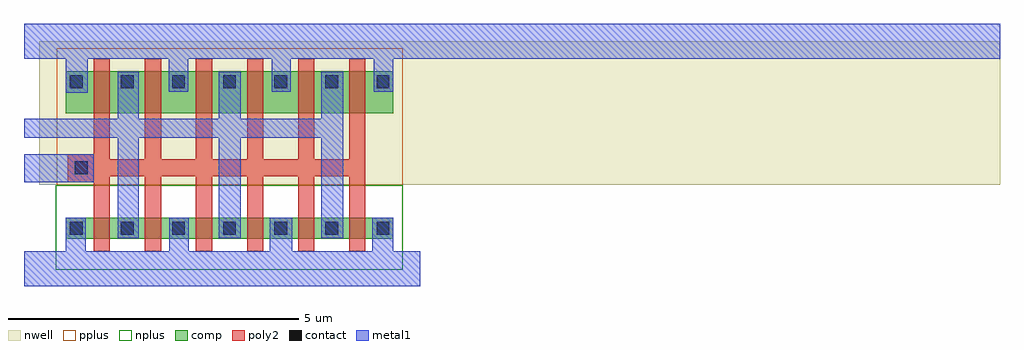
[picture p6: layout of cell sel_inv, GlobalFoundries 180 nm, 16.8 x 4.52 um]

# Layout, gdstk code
import gdstk
lib = gdstk.Library(unit=1e-6, precision=5e-09)
def R(c, l, rs):  # rectangles x0, y0, x1, y1
    for r in rs: c.add(gdstk.rectangle(r[:2], r[2:], *l))
def A(c, l, x, y, w, h, nx, ny, dx, dy):  # array of equal rectangles
    R(c, l, [(x+i*dx, y+j*dy, x+i*dx+w, y+j*dy+h) for i in range(nx) for j in range(ny)])
nwell = (21, 0)
comp = (22, 0)
poly2 = (30, 0)
pplus = (31, 0)
nplus = (32, 0)
contact = (33, 0)
metal1 = (34, 0)

sel_inv = lib.new_cell('sel_inv')
R(sel_inv, nwell, [(-2.555,-1.915,13.99,0.56)])
R(sel_inv, comp, [(-2.095,-2.84,3.545,-2.48), (-2.095,-0.68,3.545,0.04)])
A(sel_inv, poly2, -1.615, -3.06, 0.28, 3.32, 6, 1, 0.88, 0)
R(sel_inv, poly2, [(-2.06,-1.865,-1.615,-1.39), (-1.335,-1.77,3.065,-1.475)])
R(sel_inv, pplus, [(-2.255,-1.92,3.705,0.44)])
R(sel_inv, nplus, [(-2.265,-3.375,3.705,-1.92)])
A(sel_inv, contact, -2.025, -2.77, 0.22, 0.22, 7, 2, 0.88, 2.52)
R(sel_inv, contact, [(-1.94,-1.73,-1.72,-1.51)])
R(sel_inv, metal1, [(-2.815,-3.66,4.005,-3.06), (-2.095,-3.06,-1.75,-2.48), (-0.31,-3.06,0.02,-2.48), (1.42,-3.06,1.8,-2.48), (3.185,-3.06,3.545,-2.48), (-1.205,-2.83,-0.84,0.03), (0.54,-2.83,0.92,0.03), (2.305,-2.83,2.68,0.03), (-2.815,-1.865,-1.615,-1.39), (-2.815,-1.1,2.68,-0.78), (-2.095,-0.33,-1.72,0.26), (-0.32,-0.31,0.015,0.26), (1.45,-0.31,1.78,0.26), (3.205,-0.31,3.545,0.26), (-2.815,0.26,13.99,0.86)])

lib.write_gds('sel_inv.gds')
